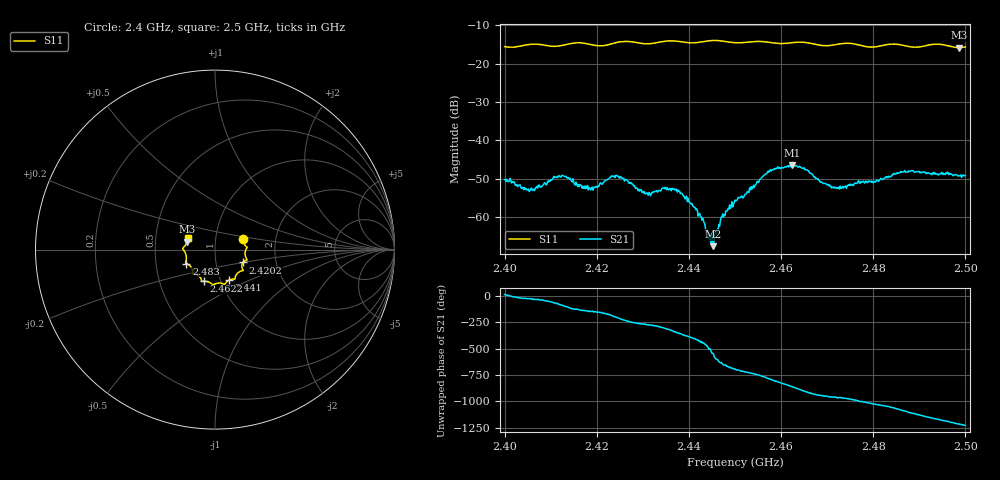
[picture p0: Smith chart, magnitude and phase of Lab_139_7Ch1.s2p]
# Hz S RI R 50
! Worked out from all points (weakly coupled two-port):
!   601 points, 2.4 GHz to 2.5 GHz, reference 50 ohm
!   highest |S21| = -46.51 dB at 2.4623 GHz (marker M1); lowest = -67.5 dB at 2.4453 GHz (marker M2)
!   lowest |S11| = -15.8 dB at 2.4987 GHz (marker M3), VSWR 1.39, Z = 36.4 + j3.31 ohm
!   |S11| at or under -10 dB: start of sweep to end of sweep
!   S12 and S22 are empty: the file has one direction only
!   S11 on the Smith chart (normalised r, x): 2.4 GHz: 1.36, +0.17; 2.4202 GHz: 1.35, -0.20; 2.441 GHz: 1.09, -0.39; 2.4622 GHz: 0.83, -0.30; 2.483 GHz: 0.72, -0.12; 2.5 GHz: 0.73, +0.09
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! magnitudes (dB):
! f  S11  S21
! 2.4 GHz  -15.5  -50.2
! 2.4058 GHz  -14.9  -52.4
! 2.4128 GHz  -15.1  -49.2
! 2.4167 GHz  -14.6  -51.9
! 2.4202 GHz  -15.3  -52.2
! 2.4243 GHz  -14.5  -49.2
! 2.4307 GHz  -14.8  -53.8
! 2.4333 GHz  -14.4  -53.2
! 2.4375 GHz  -14.2  -53.5
! 2.441 GHz  -14.6  -57.3
! 2.4453 GHz  -13.9  -67.5
! 2.4475 GHz  -14.1  -60.0
! 2.45 GHz  -14.5  -55.5
! 2.4572 GHz  -14.4  -48.0
! 2.4622 GHz  -14.5  -46.6
! 2.4623 GHz  -14.5  -46.5
! 2.4667 GHz  -14.7  -48.7
! 2.4722 GHz  -14.9  -52.3
! 2.483 GHz  -15.0  -49.4
! 2.4833 GHz  -15.0  -49.4
! 2.4987 GHz  -15.8  -49.2
! 2.5 GHz  -15.6  -49.2
